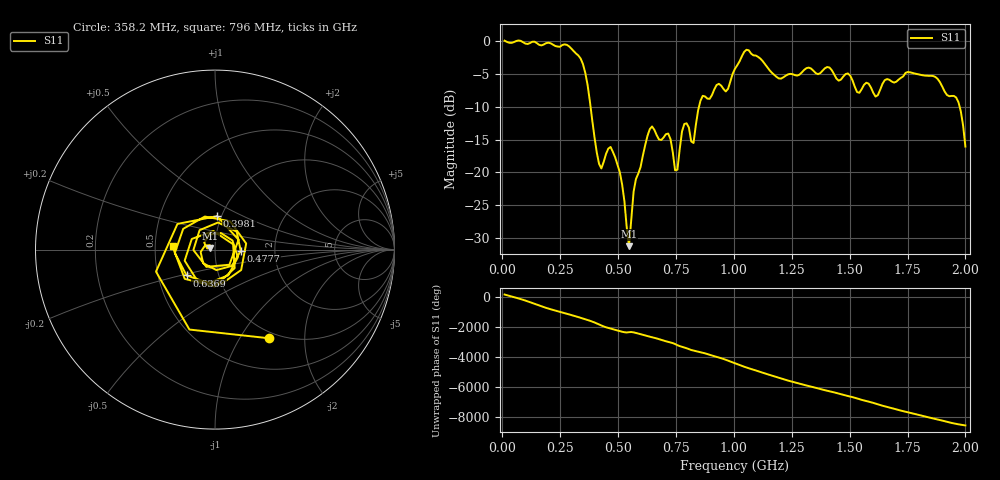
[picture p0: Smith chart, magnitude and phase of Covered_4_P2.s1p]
!Created with skrf (http://scikit-rf.org).
# Hz S RI R 50.0
!freq ReS11 ImS11
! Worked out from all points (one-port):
!   201 points, 10 MHz to 2 GHz, reference 50 ohm
!   lowest |S11| = -31.2 dB at 547.3 MHz (marker M1), VSWR 1.06, Z = 47.5 + j0.828 ohm
!   |S11| at or under -10 dB: 381.3 MHz to 849.3 MHz (467.9 MHz wide, 76 % of centre); 1.975 GHz to end of sweep
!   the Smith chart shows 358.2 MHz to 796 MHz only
!   S11 on the Smith chart (normalised r, x): 358.2 MHz: 0.91, -1.34; 398.1 MHz: 0.95, +0.37; 477.6 MHz: 1.33, -0.02; 636.9 MHz: 0.70, -0.21; 796 MHz: 0.62, +0.02
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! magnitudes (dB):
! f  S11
! 10 MHz  0.1
! 258.8 MHz  -0.5
! 358.2 MHz  -4.8
! 398.1 MHz  -14.6
! 427.9 MHz  -19.4
! 477.6 MHz  -16.9
! 507.5 MHz  -19.9
! 547.3 MHz  -31.2
! 567.2 MHz  -22.9
! 636.9 MHz  -13.4
! 716.5 MHz  -14.1
! 756.2 MHz  -19.6
! 776.1 MHz  -13.7
! 796 MHz  -12.5
! 825.9 MHz  -15.5
! 865.7 MHz  -8.3
! 965.2 MHz  -7.6
! 1.005 GHz  -4.2
! 1.055 GHz  -1.3
! 1.194 GHz  -5.6
! 1.254 GHz  -5.0
! 1.502 GHz  -5.2
! 1.532 GHz  -7.7
! 1.612 GHz  -8.4
! 1.751 GHz  -4.7
! 1.96 GHz  -8.6
! 1.98 GHz  -10.6
! 2 GHz  -16.0
